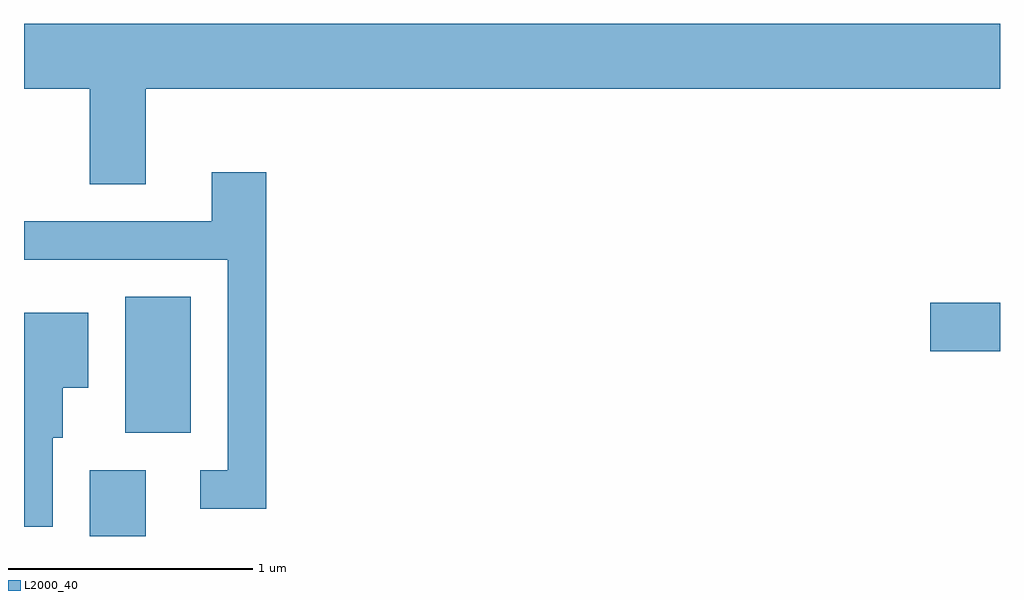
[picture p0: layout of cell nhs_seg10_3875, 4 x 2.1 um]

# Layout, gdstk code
import gdstk
lib = gdstk.Library(unit=1e-6, precision=1e-09)
def R(c, l, rs):  # rectangles x0, y0, x1, y1
    for r in rs: c.add(gdstk.rectangle(r[:2], r[2:], *l))
def P(c, l, *ps):  # polygons
    for p in ps: c.add(gdstk.Polygon(p, *l))
L2000_40 = (2000, 40)

nhs_seg10_3875 = lib.new_cell('nhs_seg10_3875')
R(nhs_seg10_3875, L2000_40, [(299.881,2116.522,300.109,2116.794), (300.026,2116.946,300.294,2117.504), (303.326,2117.281,303.611,2117.479)])
P(nhs_seg10_3875, L2000_40, [(300.109,2118.356),(303.611,2118.356),(303.611,2118.624),(299.611,2118.624),(299.611,2118.356),(299.881,2118.356),(299.881,2117.966),(300.109,2117.966)],
  [(300.604,2118.014),(300.381,2118.014),(300.381,2117.814),(299.611,2117.814),(299.611,2117.656),(300.446,2117.656),(300.446,2116.794),(300.333,2116.794),(300.333,2116.636),(300.604,2116.636)],
  [(299.729,2116.926),(299.769,2116.926),(299.769,2117.131),(299.874,2117.131),(299.874,2117.439),(299.611,2117.439),(299.611,2116.561),(299.729,2116.561)])

lib.write_gds('nhs_seg10_3875.gds')
